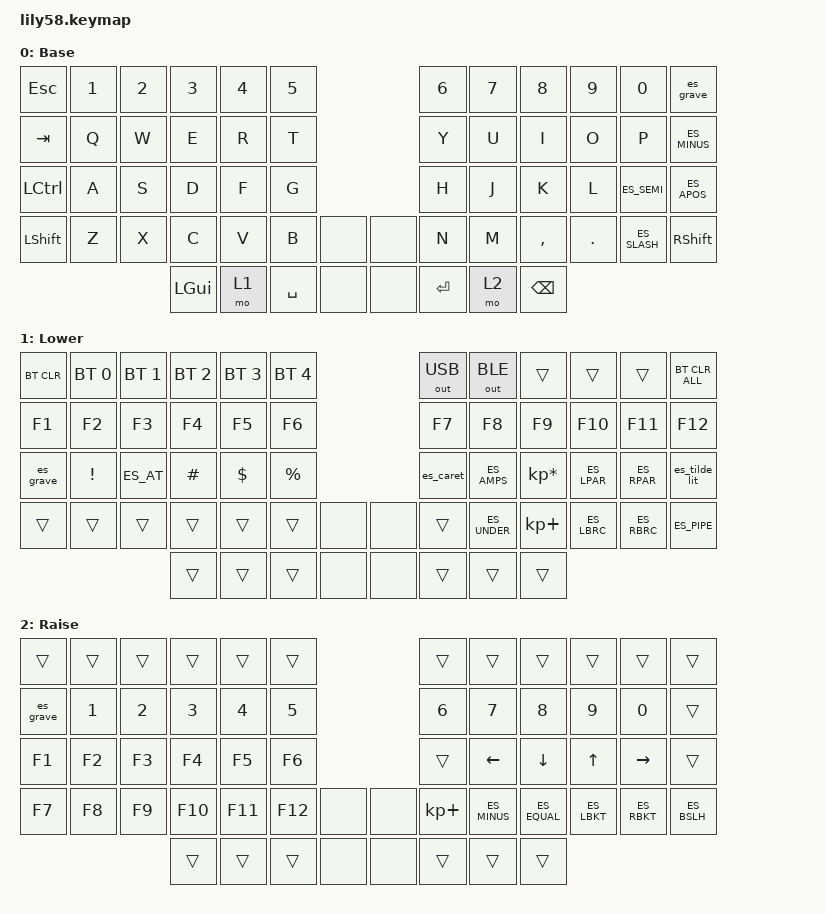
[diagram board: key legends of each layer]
/*
 * Copyright (c) 2020 The ZMK Contributors
 *
 * SPDX-License-Identifier: MIT
 */

#include <behaviors.dtsi>
#include <dt-bindings/zmk/keys.h>
#include <dt-bindings/zmk/bt.h>
#include <dt-bindings/zmk/ext_power.h>
#include <dt-bindings/zmk/outputs.h>

// Requiere el modulo zmk-locales agregado en west.yml (ver conversacion previa)
#include <locale/keys_es_latin_american.h>

/ {
    macros {
        // Las teclas muertas GRAVE, CARET y TILDE en el layout ES-LATAM no
        // producen el simbolo directamente: quedan "armadas" esperando la
        // siguiente vocal. Este truco (tecla muerta + espacio + backspace)
        // fuerza a que salga el simbolo suelto.
        es_grave: es_grave_macro {
            compatible = "zmk,behavior-macro";
            #binding-cells = <0>;
            bindings = <&macro_tap &kp ES_GRAVE &kp SPACE &kp BSPC>;
        };

        es_caret: es_caret_macro {
            compatible = "zmk,behavior-macro";
            #binding-cells = <0>;
            bindings = <&macro_tap &kp ES_CARET &kp SPACE &kp BSPC>;
        };

        es_tilde_lit: es_tilde_lit_macro {
            compatible = "zmk,behavior-macro";
            #binding-cells = <0>;
            bindings = <&macro_tap &kp ES_TILDE &kp SPACE &kp BSPC>;
        };
    };

    keymap {
        compatible = "zmk,keymap";

        default_layer {
// ------------------------------------------------------------------------------------------------------------
// |  ESC  |  1  |  2  |  3   |  4   |  5   |                   |  6   |  7    |  8    |  9   |   0   |   `   |
// |  TAB  |  Q  |  W  |  E   |  R   |  T   |                   |  Y   |  U    |  I    |  O   |   P   |   -   |
// |  CTRL |  A  |  S  |  D   |  F   |  G   |                   |  H   |  J    |  K    |  L   |   ;   |   '   |
// | SHIFT |  Z  |  X  |  C   |  V   |  B   |  n/a   |  |  n/a  |  N   |  M    |  ,    |  .   |   /   | SHIFT |
//                     | GUI  | LOWER| SPACE|  n/a   |  |  n/a  | ENTER| RAISE | BSPC  |
// Note: Silakka54 has 54 keys - the 4 positions marked n/a are not present (inner thumb + encoder positions)
// Nota ES-LATAM: `, -, ;, ' y / re-mapeados a keycodes ES_* para que coincidan
// con lo que produce el layout Español (Latinoamerica) en Windows.
            display-name = "Base";
            bindings = <
&kp ESC   &kp N1 &kp N2 &kp N3   &kp N4 &kp N5                     &kp N6  &kp N7   &kp N8    &kp N9  &kp N0     &es_grave
&kp TAB   &kp Q  &kp W  &kp E    &kp R  &kp T                      &kp Y   &kp U    &kp I     &kp O   &kp P      &kp ES_MINUS
&kp LCTRL &kp A  &kp S  &kp D    &kp F  &kp G                      &kp H   &kp J    &kp K     &kp L   &kp ES_SEMI &kp ES_APOS
&kp LSHFT &kp Z  &kp X  &kp C    &kp V  &kp B  &none     &none     &kp N   &kp M    &kp COMMA &kp DOT &kp ES_SLASH &kp RSHFT
                        &kp LGUI &mo 1  &kp SPACE &none  &none     &kp RET &mo 2    &kp BSPC
            >;
        };

        lower_layer {
// ------------------------------------------------------------------------------------------------------------
// | BTCLR | BT1 | BT2 |  BT3 |  BT4 |  BT5 |                   | USB  | BLE   |       |      |       |BTCLRALL|
// |  F1   |  F2 |  F3 |  F4  |  F5  |  F6  |                   |  F7  |  F8   |  F9   |  F10 |  F11  |  F12  |
// |   `   |  !  |  @  |  #   |  $   |  %   |                   |  ^   |  &    |  *    |  (   |   )   |   ~   |
// |       |     |     |      |      |      |  n/a   |  |  n/a  |      |  _    |  +    |  {   |   }   |  "|"  |
//                     |      |      |      |  n/a   |  |  n/a  |      |       |       |
// Nota ES-LATAM: `, @, ^, &, (, ), ~, _, {, }, | re-mapeados. ! # $ % y el
// teclado numerico (*, +) quedan igual porque no cambian entre layouts.
            display-name = "Lower";
            bindings = <
&bt BT_CLR &bt BT_SEL 0 &bt BT_SEL 1 &bt BT_SEL 2 &bt BT_SEL 3 &bt BT_SEL 4                 &out OUT_USB &out OUT_BLE &trans          &trans   &trans   &bt BT_CLR_ALL
&kp F1     &kp F2       &kp F3       &kp F4       &kp F5       &kp F6                       &kp F7       &kp F8       &kp F9          &kp F10  &kp F11  &kp F12
&es_grave  &kp EXCL     &kp ES_AT    &kp HASH     &kp DOLLAR   &kp PRCNT                    &es_caret    &kp ES_AMPS  &kp KP_MULTIPLY &kp ES_LPAR &kp ES_RPAR &es_tilde_lit
&trans     &trans       &trans       &trans       &trans       &trans    &none     &none   &trans       &kp ES_UNDER &kp KP_PLUS     &kp ES_LBRC &kp ES_RBRC &kp ES_PIPE
                                     &trans       &trans       &trans    &none     &none   &trans       &trans       &trans
            >;
        };

        raise_layer {
// ------------------------------------------------------------------------------------------------------------
// |       |     |     |      |      |      |                   |      |       |       |      |       |       |
// |   `   |  1  |  2  |  3   |  4   |  5   |                   |  6   |   7   |   8   |  9   |   0   |       |
// |   F1  |  F2 |  F3 |  F4  |  F5  |  F6  |                   |      |   <-  |   v   |  ^   |  ->   |       |
// |   F7  |  F8 |  F9 |  F10 |  F11 |  F12 |  n/a   |  |  n/a  |  +   |   -   |   =   |  [   |   ]   |   \   |
//                     |      |      |      |  n/a   |  |  n/a  |      |       |       |
// Nota ES-LATAM: `, -, =, [, ] y \ re-mapeados.
            display-name = "Raise";
            bindings = <
&trans    &trans &trans &trans  &trans  &trans                       &trans      &trans    &trans    &trans   &trans    &trans
&es_grave &kp N1 &kp N2 &kp N3  &kp N4  &kp N5                       &kp N6      &kp N7    &kp N8    &kp N9   &kp N0    &trans
&kp F1    &kp F2 &kp F3 &kp F4  &kp F5  &kp F6                       &trans      &kp LEFT  &kp DOWN  &kp UP   &kp RIGHT &trans
&kp F7    &kp F8 &kp F9 &kp F10 &kp F11 &kp F12   &none     &none    &kp KP_PLUS &kp ES_MINUS &kp ES_EQUAL &kp ES_LBKT &kp ES_RBKT &kp ES_BSLH
                        &trans  &trans  &trans    &none     &none    &trans      &trans    &trans
            >;
        };

        extra_1 {
            status = "reserved";
        };

        extra_2 {
            status = "reserved";
        };

        extra_3 {
            status = "reserved";
        };
    };
};
